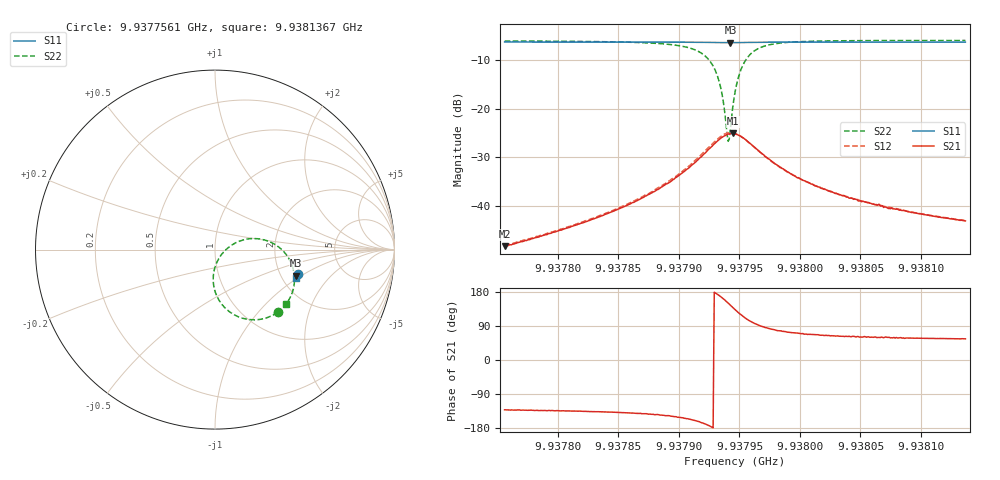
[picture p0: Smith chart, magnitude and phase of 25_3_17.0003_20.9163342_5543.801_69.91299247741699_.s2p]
#  HZ  S  RI  R  50.00
! Rohde & Schwarz Vector Network Analyzer
! Rohde-Schwarz,ZNB20-2Port,1311601062101988,3.16
! Created: UTC 3/20/2024, 10:53:10 PM
! freq[Hz]  re:S11  im:S11  re:S21  im:S21  re:S12  im:S12  re:S22  im:S22
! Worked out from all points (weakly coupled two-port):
!   401 points, 9.9377561 GHz to 9.9381367 GHz, reference 50 ohm
!   highest |S21| = -25.09 dB at 9.9379445 GHz (marker M1); lowest = -48.2 dB at 9.9377561 GHz (marker M2)
!   lowest |S11| = -6.5 dB at 9.9379426 GHz (marker M3), VSWR 2.80, Z = 120 - j45 ohm
!   |S11| at or under -10 dB: nowhere
!   |S22| runs from -26.7 to -6.0 dB; largest |S21 - S12| = 0.0043
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9.93775607e9  0.4619 -0.1358  -0.00258 -0.00292  -0.00268 -0.0029  0.349 -0.3482
9.93781982e9  0.4599 -0.1402  -0.00476 -0.00473  -0.00496 -0.00475  0.3259 -0.3632
9.93785788e9  0.4587 -0.1429  -0.00782 -0.00671  -0.00814 -0.00672  0.2963 -0.3767
9.93788357e9  0.4576 -0.1451  -0.0123 -0.00867  -0.013 -0.00865  0.2554 -0.388
9.93791021e9  0.4555 -0.1472  -0.024 -0.01  -0.0252 -0.00991  0.1554 -0.3829
9.93792449e9  0.4536 -0.1477  -0.0379 -0.00478  -0.0397 -0.00349  0.0479 -0.3163
9.93792924e9  0.4527 -0.1475  -0.0435 0.000928  -0.0454 0.00282  0.0105 -0.2588
9.93793305e9  0.4518 -0.1471  -0.0472 0.0076  -0.0489 0.0107  -0.00834 -0.1935
9.9379359e9  0.4515 -0.1465  -0.0489 0.0143  -0.05 0.018  -0.00818 -0.1351
9.93793971e9  0.4513 -0.1455  -0.0483 0.0245  -0.0482 0.0287  0.0194 -0.0531
9.93794066e9  0.4513 -0.1454  -0.0475 0.0271  -0.0471 0.0313  0.0315 -0.0338
9.93794161e9  0.4513 -0.145  -0.0465 0.0295  -0.0455 0.0336  0.0458 -0.0159
9.93794256e9  0.4513 -0.1447  -0.0451 0.0321  -0.0438 0.0361  0.062 0.000783
9.93794447e9  0.4516 -0.1442  -0.0418 0.0367  -0.0399 0.0403  0.0986 0.0285
9.93794637e9  0.4521 -0.1439  -0.0376 0.0401  -0.0353 0.0434  0.1387 0.0479
9.93794923e9  0.4528 -0.1434  -0.0305 0.0438  -0.0278 0.0461  0.2015 0.0612
9.93795303e9  0.4538 -0.1434  -0.0213 0.0456  -0.0182 0.0468  0.2763 0.0535
9.93796255e9  0.4554 -0.1443  -0.0045 0.04  -0.00245 0.0398  0.3915 -0.0211
9.93798253e9  0.4566 -0.1471  0.00567 0.0251  0.00631 0.0247  0.4428 -0.1517
9.93801012e9  0.4562 -0.15  0.00651 0.0156  0.00687 0.0152  0.4342 -0.2284
9.93807387e9  0.4545 -0.1549  0.00477 0.00818  0.00509 0.00828  0.4089 -0.2852
9.93813667e9  0.4528 -0.1592  0.00397 0.00584  0.00412 0.00583  0.3949 -0.3057
